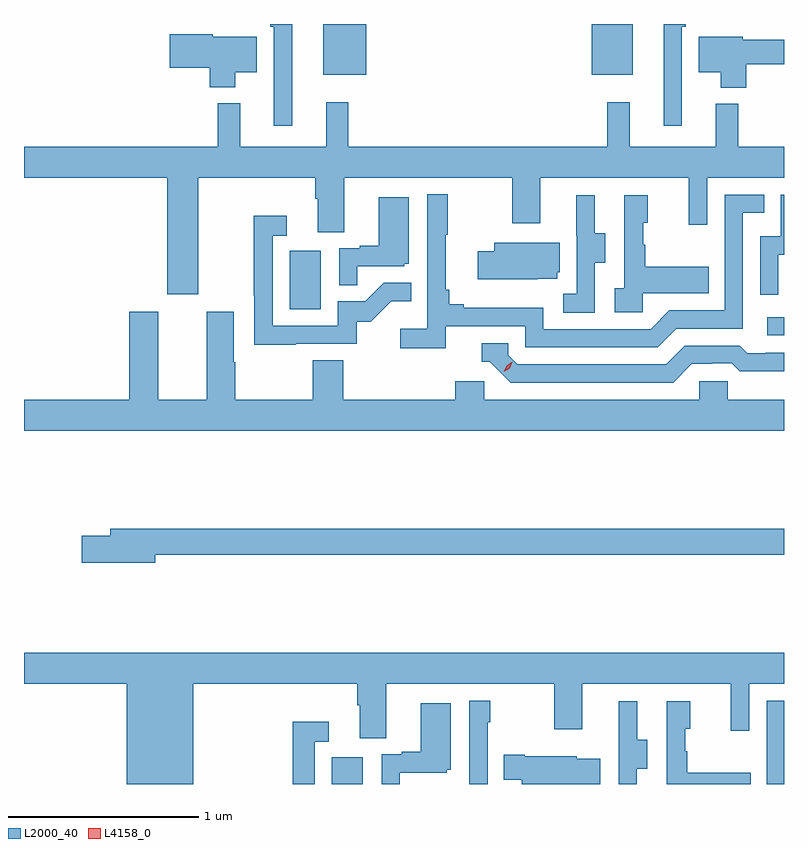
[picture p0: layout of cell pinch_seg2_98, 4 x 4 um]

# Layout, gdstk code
import gdstk
lib = gdstk.Library(unit=1e-6, precision=1e-09)
def R(c, l, rs):  # rectangles x0, y0, x1, y1
    for r in rs: c.add(gdstk.rectangle(r[:2], r[2:], *l))
def P(c, l, *ps):  # polygons
    for p in ps: c.add(gdstk.Polygon(p, *l))
L2000_40 = (2000, 40)
L4158_0 = (4158, 0)

pinch_seg2_98 = lib.new_cell('pinch_seg2_98')
R(pinch_seg2_98, L2000_40, [(1036.67,632.457,1036.834,632.599), (1038.96,632.457,1039.05,632.895), (1038.963,634.818,1039.05,634.914), (1036.448,634.956,1036.612,635.263), (1036.625,636.191,1036.852,636.457), (1038.038,636.191,1038.253,636.457)])
P(pinch_seg2_98, L2000_40, [(1038.513,636.443),(1038.533,636.443),(1038.533,636.457),(1038.416,636.457),(1038.416,635.922),(1038.513,635.922)],
  [(1036.462,636.457),(1036.345,636.457),(1036.345,636.443),(1036.365,636.443),(1036.365,635.922),(1036.462,635.922)],
  [(1036.162,636.203),(1036.276,636.203),(1036.276,636.391),(1036.044,636.391),(1036.044,636.404),(1035.816,636.404),(1035.816,636.226),(1036.028,636.226),(1036.028,636.125),(1036.162,636.125)],
  [(1038.851,636.244),(1039.05,636.244),(1039.05,636.373),(1038.834,636.373),(1038.834,636.391),(1038.602,636.391),(1038.602,636.203),(1038.716,636.203),(1038.716,636.122),(1038.851,636.122)],
  [(1035.967,635.648),(1036.583,635.648),(1036.583,635.536),(1036.595,635.536),(1036.595,635.362),(1036.735,635.362),(1036.735,635.648),(1037.62,635.648),(1037.62,635.409),(1037.767,635.409),(1037.767,635.648),(1038.548,635.648),(1038.548,635.4),(1038.645,635.4),(1038.645,635.648),(1039.05,635.648),(1039.05,635.812),(1038.809,635.812),(1038.809,636.037),(1038.692,636.037),(1038.692,635.812),(1038.239,635.812),(1038.239,636.046),(1038.121,636.046),(1038.121,635.812),(1036.757,635.812),(1036.757,636.046),(1036.64,636.046),(1036.64,635.812),(1036.187,635.812),(1036.187,636.04),(1036.069,636.04),(1036.069,635.812),(1035.05,635.812),(1035.05,635.648),(1035.803,635.648),(1035.803,635.034),(1035.967,635.034)],
  [(1037.27,634.866),(1037.688,634.866),(1037.688,634.755),(1038.385,634.755),(1038.484,634.854),(1038.834,634.854),(1038.834,635.463),(1038.947,635.463),(1038.947,635.559),(1038.738,635.559),(1038.738,634.95),(1038.447,634.95),(1038.348,634.851),(1037.784,634.851),(1037.784,634.963),(1037.365,634.963),(1037.365,634.982),(1037.288,634.982),(1037.288,635.059),(1037.269,635.059),(1037.269,635.347),(1037.281,635.347),(1037.281,635.56),(1037.172,635.56),(1037.172,634.852),(1037.031,634.852),(1037.031,634.75),(1037.27,634.75)],
  [(1039.02,635.243),(1039.05,635.243),(1039.05,635.559),(1039.032,635.559),(1039.032,635.34),(1038.924,635.34),(1038.924,635.031),(1039.02,635.031)],
  [(1038.054,635.2),(1038.109,635.2),(1038.109,635.355),(1038.055,635.355),(1038.055,635.557),(1037.957,635.557),(1037.957,635.343),(1037.958,635.343),(1037.958,635.037),(1037.889,635.037),(1037.889,634.936),(1038.054,634.936)],
  [(1038.306,635.039),(1038.653,635.039),(1038.653,635.179),(1038.319,635.179),(1038.319,635.294),(1038.309,635.294),(1038.309,635.412),(1038.334,635.412),(1038.334,635.557),(1038.21,635.557),(1038.21,635.066),(1038.159,635.066),(1038.159,634.941),(1038.306,634.941)],
  [(1036.805,635.181),(1037.052,635.181),(1037.052,635.196),(1037.074,635.196),(1037.074,635.545),(1036.916,635.545),(1036.916,635.29),(1036.817,635.29),(1036.817,635.277),(1036.71,635.277),(1036.71,635.083),(1036.805,635.083)],
  [(1036.481,634.773),(1036.8,634.773),(1036.8,634.89),(1036.876,634.89),(1036.983,634.997),(1037.087,634.997),(1037.087,635.096),(1036.943,635.096),(1036.845,634.998),(1036.701,634.998),(1036.701,634.869),(1036.359,634.869),(1036.359,635.343),(1036.432,635.343),(1036.432,635.449),(1036.258,635.449),(1036.258,635.029),(1036.263,635.029),(1036.263,634.768),(1036.481,634.768)],
  [(1037.753,635.115),(1037.857,635.115),(1037.857,635.151),(1037.869,635.151),(1037.869,635.305),(1037.525,635.305),(1037.525,635.262),(1037.439,635.262),(1037.439,635.114),(1037.753,635.114)],
  [(1039.05,634.48),(1038.753,634.48),(1038.753,634.578),(1038.603,634.578),(1038.603,634.48),(1037.472,634.48),(1037.472,634.578),(1037.321,634.578),(1037.321,634.48),(1036.73,634.48),(1036.73,634.688),(1036.57,634.688),(1036.57,634.48),(1036.161,634.48),(1036.161,634.676),(1036.153,634.676),(1036.153,634.942),(1036.013,634.942),(1036.013,634.48),(1035.757,634.48),(1035.757,634.942),(1035.605,634.942),(1035.605,634.48),(1035.05,634.48),(1035.05,634.316),(1039.05,634.316)],
  [(1038.565,634.668),(1038.672,634.668),(1038.672,634.671),(1038.775,634.671),(1038.817,634.629),(1039.05,634.629),(1039.05,634.728),(1038.955,634.728),(1038.955,634.725),(1038.856,634.725),(1038.817,634.764),(1038.528,634.764),(1038.429,634.665),(1037.646,634.665),(1037.598,634.713),(1037.598,634.776),(1037.459,634.776),(1037.459,634.68),(1037.502,634.68),(1037.613,634.569),(1038.466,634.569)],
  [(1035.742,633.664),(1039.05,633.664),(1039.05,633.8),(1035.503,633.8),(1035.503,633.764),(1035.353,633.764),(1035.353,633.622),(1035.742,633.622)],
  [(1035.94,632.984),(1036.805,632.984),(1036.805,632.872),(1036.817,632.872),(1036.817,632.698),(1036.957,632.698),(1036.957,632.984),(1037.842,632.984),(1037.842,632.745),(1037.989,632.745),(1037.989,632.984),(1038.77,632.984),(1038.77,632.736),(1038.867,632.736),(1038.867,632.984),(1039.05,632.984),(1039.05,633.148),(1035.05,633.148),(1035.05,632.984),(1035.59,632.984),(1035.59,632.457),(1035.94,632.457)],
  [(1037.49,632.783),(1037.503,632.783),(1037.503,632.896),(1037.394,632.896),(1037.394,632.457),(1037.49,632.457)],
  [(1038.276,632.536),(1038.331,632.536),(1038.331,632.691),(1038.277,632.691),(1038.277,632.893),(1038.179,632.893),(1038.179,632.679),(1038.18,632.679),(1038.18,632.457),(1038.276,632.457)],
  [(1038.875,632.515),(1038.541,632.515),(1038.541,632.63),(1038.531,632.63),(1038.531,632.748),(1038.556,632.748),(1038.556,632.893),(1038.432,632.893),(1038.432,632.457),(1038.875,632.457)],
  [(1037.027,632.517),(1037.274,632.517),(1037.274,632.532),(1037.296,632.532),(1037.296,632.881),(1037.138,632.881),(1037.138,632.626),(1037.039,632.626),(1037.039,632.613),(1036.932,632.613),(1036.932,632.457),(1037.027,632.457)],
  [(1036.581,632.679),(1036.654,632.679),(1036.654,632.785),(1036.465,632.785),(1036.465,632.457),(1036.581,632.457)],
  [(1038.083,632.59),(1037.958,632.59),(1037.958,632.602),(1037.686,632.602),(1037.686,632.61),(1037.575,632.61),(1037.575,632.48),(1037.669,632.48),(1037.669,632.457),(1038.083,632.457)])
P(pinch_seg2_98, L4158_0, [(1037.576,634.626),(1037.576,634.626),(1037.591,634.659),(1037.621,634.68),(1037.621,634.68),(1037.621,634.679),(1037.606,634.646),(1037.576,634.626)])

lib.write_gds('pinch_seg2_98.gds')
